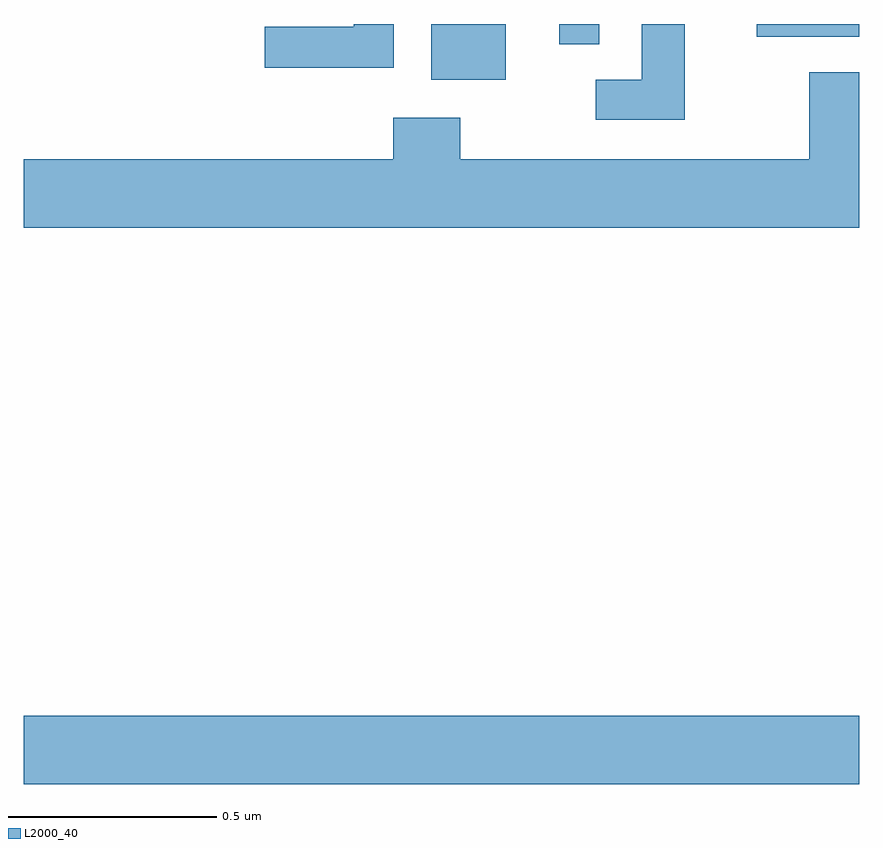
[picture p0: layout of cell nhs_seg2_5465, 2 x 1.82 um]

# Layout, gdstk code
import gdstk
lib = gdstk.Library(unit=1e-6, precision=1e-09)
def R(c, l, rs):  # rectangles x0, y0, x1, y1
    for r in rs: c.add(gdstk.rectangle(r[:2], r[2:], *l))
def P(c, l, *ps):  # polygons
    for p in ps: c.add(gdstk.Polygon(p, *l))
L2000_40 = (2000, 40)

nhs_seg2_5465 = lib.new_cell('nhs_seg2_5465')
R(nhs_seg2_5465, L2000_40, [(179,636.98,181,637.144), (179.975,638.666,180.154,638.8), (180.282,638.752,180.378,638.8), (180.755,638.769,181,638.8)])
P(nhs_seg2_5465, L2000_40, [(180.583,638.8),(180.479,638.8),(180.479,638.667),(180.369,638.667),(180.369,638.571),(180.583,638.571)],
  [(179.886,638.8),(179.79,638.8),(179.79,638.793),(179.577,638.793),(179.577,638.695),(179.886,638.695)],
  [(181,638.684),(180.881,638.684),(180.881,638.476),(180.045,638.476),(180.045,638.575),(179.885,638.575),(179.885,638.476),(179,638.476),(179,638.312),(181,638.312)])

lib.write_gds('nhs_seg2_5465.gds')
